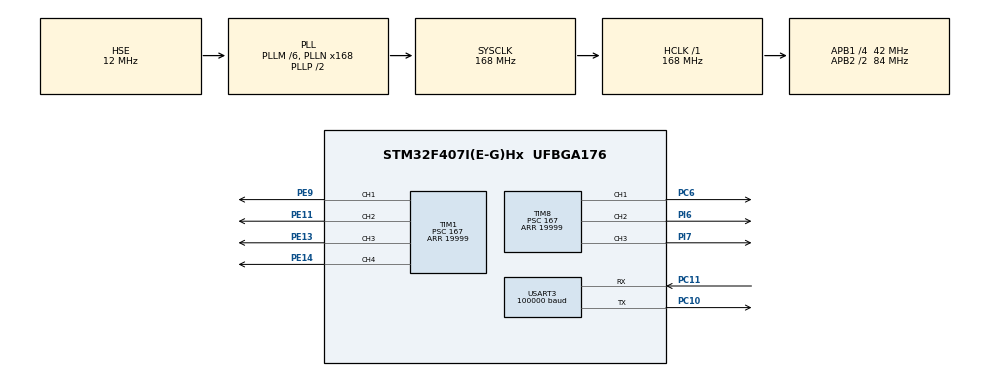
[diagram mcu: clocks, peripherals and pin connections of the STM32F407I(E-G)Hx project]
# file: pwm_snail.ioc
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Dma.Request0=USART3_RX
Dma.USART3_RX.0.Direction=DMA_PERIPH_TO_MEMORY
Dma.USART3_RX.0.FIFOMode=DMA_FIFOMODE_DISABLE
Dma.USART3_RX.0.Instance=DMA1_Stream1
Dma.USART3_RX.0.MemDataAlignment=DMA_MDATAALIGN_BYTE
Dma.USART3_RX.0.MemInc=DMA_MINC_ENABLE
Dma.USART3_RX.0.Mode=DMA_NORMAL
Dma.USART3_RX.0.PeriphDataAlignment=DMA_PDATAALIGN_BYTE
Dma.USART3_RX.0.PeriphInc=DMA_PINC_DISABLE
Dma.USART3_RX.0.Priority=DMA_PRIORITY_LOW
Mcu.Family=STM32F4
Mcu.Name=STM32F407I(E-G)Hx
Mcu.Package=UFBGA176
NVIC.DMA1_Stream1_IRQn=true\:0\:0\:false\:false\:true\:false\:false\:true
NVIC.PriorityGroup=NVIC_PRIORITYGROUP_4
NVIC.USART3_IRQn=true\:0\:0\:false\:false\:false\:true\:true\:true
PA13.Mode=Serial_Wire
PA13.Signal=SYS_JTMS-SWDIO
PA14.Mode=Serial_Wire
PA14.Signal=SYS_JTCK-SWCLK
PC10.Mode=Asynchronous
PC10.Signal=USART3_TX
PC11.Mode=Asynchronous
PC11.Signal=USART3_RX
PC6.GPIO_PuPd=GPIO_PULLUP
PC6.GPIO_Speed=GPIO_SPEED_FREQ_HIGH
PC6.Signal=S_TIM8_CH1
PE11.GPIO_PuPd=GPIO_PULLUP
PE11.GPIO_Speed=GPIO_SPEED_FREQ_HIGH
PE11.Signal=S_TIM1_CH2
PE13.GPIO_PuPd=GPIO_PULLUP
PE13.GPIO_Speed=GPIO_SPEED_FREQ_HIGH
PE13.Signal=S_TIM1_CH3
PE14.GPIO_PuPd=GPIO_PULLUP
PE14.GPIO_Speed=GPIO_SPEED_FREQ_HIGH
PE14.Signal=S_TIM1_CH4
PE9.GPIO_PuPd=GPIO_PULLUP
PE9.GPIO_Speed=GPIO_SPEED_FREQ_HIGH
PE9.Signal=S_TIM1_CH1
PH0-OSC_IN.Mode=HSE-External-Oscillator
PH0-OSC_IN.Signal=RCC_OSC_IN
PH1-OSC_OUT.Mode=HSE-External-Oscillator
PH1-OSC_OUT.Signal=RCC_OSC_OUT
PI6.GPIO_PuPd=GPIO_PULLUP
PI6.GPIO_Speed=GPIO_SPEED_FREQ_HIGH
PI6.Signal=S_TIM8_CH2
PI7.Signal=S_TIM8_CH3
ProjectManager.HeapSize=0x2000
ProjectManager.StackSize=0x2000
ProjectManager.TargetToolchain=STM32CubeIDE
RCC.48MHZClocksFreq_Value=48000000
RCC.AHBFreq_Value=168000000
RCC.APB1CLKDivider=RCC_HCLK_DIV4
RCC.APB1Freq_Value=42000000
RCC.APB1TimFreq_Value=84000000
RCC.APB2CLKDivider=RCC_HCLK_DIV2
RCC.APB2Freq_Value=84000000
RCC.APB2TimFreq_Value=168000000
RCC.CortexFreq_Value=168000000
RCC.HCLKFreq_Value=168000000
RCC.HSE_VALUE=12000000
RCC.HSI_VALUE=16000000
RCC.LSE_VALUE=32768
RCC.PLLM=6
RCC.PLLN=168
RCC.PLLQ=7
RCC.PLLSourceVirtual=RCC_PLLSOURCE_HSE
RCC.RCC_RTC_Clock_SourceVirtual=RCC_RTCCLKSOURCE_HSE_DIV30
RCC.RCC_RTC_Clock_Source_FROM_HSE=RCC_RTCCLKSOURCE_HSE_DIV30
RCC.SYSCLKFreq_VALUE=168000000
RCC.SYSCLKSource=RCC_SYSCLKSOURCE_PLLCLK
RCC.VCOOutputFreq_Value=336000000
SH.S_TIM1_CH1.0=TIM1_CH1,PWM Generation1 CH1
SH.S_TIM1_CH2.0=TIM1_CH2,PWM Generation2 CH2
SH.S_TIM1_CH3.0=TIM1_CH3,PWM Generation3 CH3
SH.S_TIM1_CH4.0=TIM1_CH4,PWM Generation4 CH4
SH.S_TIM8_CH1.0=TIM8_CH1,PWM Generation1 CH1
SH.S_TIM8_CH2.0=TIM8_CH2,PWM Generation2 CH2
SH.S_TIM8_CH3.0=TIM8_CH3,PWM Generation3 CH3
TIM1.Channel-PWM\ Generation1\ CH1=TIM_CHANNEL_1
TIM1.Channel-PWM\ Generation2\ CH2=TIM_CHANNEL_2
TIM1.Channel-PWM\ Generation3\ CH3=TIM_CHANNEL_3
TIM1.Channel-PWM\ Generation4\ CH4=TIM_CHANNEL_4
TIM1.Period=19999
TIM1.Prescaler=167
TIM1.Pulse-PWM\ Generation1\ CH1=2000
TIM1.Pulse-PWM\ Generation2\ CH2=2000
TIM1.Pulse-PWM\ Generation3\ CH3=2000
TIM1.Pulse-PWM\ Generation4\ CH4=2000
TIM8.Channel-PWM\ Generation1\ CH1=TIM_CHANNEL_1
TIM8.Channel-PWM\ Generation2\ CH2=TIM_CHANNEL_2
TIM8.Channel-PWM\ Generation3\ CH3=TIM_CHANNEL_3
TIM8.Period=19999
TIM8.Prescaler=167
TIM8.Pulse-PWM\ Generation1\ CH1=2000
TIM8.Pulse-PWM\ Generation2\ CH2=2000
TIM8.Pulse-PWM\ Generation3\ CH3=2000
USART3.BaudRate=100000
USART3.VirtualMode=VM_ASYNC
VP_TIM1_VS_ClockSourceINT.Mode=Internal
VP_TIM8_VS_ClockSourceINT.Mode=Internal
board=custom

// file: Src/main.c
/* USER CODE BEGIN Header */
/**
  ******************************************************************************
  * @file           : main.c
  * @brief          : Main program body
  ******************************************************************************
  * @attention
  *
  * <h2><center>&copy; Copyright (c) 2019 STMicroelectronics.
  * All rights reserved.</center></h2>
  *
  * This software component is licensed by ST under BSD 3-Clause license,
  * the "License"; You may not use this file except in compliance with the
  * License. You may obtain a copy of the License at:
  *                        opensource.org/licenses/BSD-3-Clause
  *
  ******************************************************************************
  */
/* USER CODE END Header */
#include "main.h"
#include "dma.h"
#include "tim.h"
#include "usart.h"
#include "gpio.h"

/* USER CODE BEGIN Includes */
#include "remote_control.h"
#include "bsp_fric.h"

/* USER CODE END Includes */

void SystemClock_Config(void);
/* USER CODE BEGIN PFP */
const RC_ctrl_t *local_rc_ctrl;
/* USER CODE END PFP */

int main(void)
{

  /* MCU Configuration--------------------------------------------------------*/

  /* Reset of all peripherals, Initializes the Flash interface and the Systick. */
  HAL_Init();

  /* Configure the system clock */
  SystemClock_Config();

  /* Initialize all configured peripherals */
  MX_GPIO_Init();
  MX_DMA_Init();
  MX_USART3_UART_Init();
  MX_TIM8_Init();
  MX_TIM1_Init();
  /* USER CODE BEGIN 2 */

    HAL_TIM_Base_Start(&htim1);
    HAL_TIM_PWM_Start(&htim1, TIM_CHANNEL_1);
    HAL_TIM_PWM_Start(&htim1, TIM_CHANNEL_2);
    HAL_TIM_PWM_Start(&htim1, TIM_CHANNEL_3);
    HAL_TIM_PWM_Start(&htim1, TIM_CHANNEL_1);
    HAL_TIM_Base_Start(&htim8);
    HAL_TIM_PWM_Start(&htim8, TIM_CHANNEL_1);
    HAL_TIM_PWM_Start(&htim8, TIM_CHANNEL_2);
    HAL_TIM_PWM_Start(&htim8, TIM_CHANNEL_3);
    remote_control_init();
    fric_off();
    local_rc_ctrl = get_remote_control_point();
    HAL_Delay(100);
    while(switch_is_up(local_rc_ctrl->rc.s[0]))
    {
        fric_on(2000);
        if(local_rc_ctrl->rc.ch[1] > 600)
        {
            fric_on(1000);
            break;
        }
    }

  /* USER CODE END 2 */

  /* Infinite loop */
  while (1)
  {

    /* USER CODE BEGIN 3 */
#ifdef MOTOR_TEST
    /* Simple PWM ramp test for validating motor/driver connection.
       Define MOTOR_TEST in project options to enable. This will output
       PWM compare values on configured TIM channels via fric_on().
       Range: 1000 .. 2000 (typical 1ms..2ms for ESC/servo-style controllers).
    */
    uint16_t pwm_val = 1000;
    int8_t dir = 1;
    while (1)
    {
      fric_on(pwm_val);
      HAL_Delay(10);
      if (dir) pwm_val++;
      else pwm_val--;
      if (pwm_val >= 2000) dir = 0;
      if (pwm_val <= 1000) dir = 1;
    }
#else
    fp32 pwm;
    pwm = 1000.0f + (local_rc_ctrl->rc.ch[3] > 0? local_rc_ctrl->rc.ch[3] : 0);
    fric_on((uint16_t)(pwm));
    HAL_Delay(100);
#endif
  }
  /* USER CODE END 3 */
}

void SystemClock_Config(void)
{
  RCC_OscInitTypeDef RCC_OscInitStruct = {0};
  RCC_ClkInitTypeDef RCC_ClkInitStruct = {0};

  /** Configure the main internal regulator output voltage
  */
  __HAL_RCC_PWR_CLK_ENABLE();
  __HAL_PWR_VOLTAGESCALING_CONFIG(PWR_REGULATOR_VOLTAGE_SCALE1);

  /** Initializes the RCC Oscillators according to the specified parameters
  * in the RCC_OscInitTypeDef structure.
  */
  RCC_OscInitStruct.OscillatorType = RCC_OSCILLATORTYPE_HSE;
  RCC_OscInitStruct.HSEState = RCC_HSE_ON;
  RCC_OscInitStruct.PLL.PLLState = RCC_PLL_ON;
  RCC_OscInitStruct.PLL.PLLSource = RCC_PLLSOURCE_HSE;
  RCC_OscInitStruct.PLL.PLLM = 6;
  RCC_OscInitStruct.PLL.PLLN = 168;
  RCC_OscInitStruct.PLL.PLLP = RCC_PLLP_DIV2;
  RCC_OscInitStruct.PLL.PLLQ = 7;
  if (HAL_RCC_OscConfig(&RCC_OscInitStruct) != HAL_OK)
  {
    Error_Handler();
  }

  /** Initializes the CPU, AHB and APB buses clocks
  */
  RCC_ClkInitStruct.ClockType = RCC_CLOCKTYPE_HCLK|RCC_CLOCKTYPE_SYSCLK
                              |RCC_CLOCKTYPE_PCLK1|RCC_CLOCKTYPE_PCLK2;
  RCC_ClkInitStruct.SYSCLKSource = RCC_SYSCLKSOURCE_PLLCLK;
  RCC_ClkInitStruct.AHBCLKDivider = RCC_SYSCLK_DIV1;
  RCC_ClkInitStruct.APB1CLKDivider = RCC_HCLK_DIV4;
  RCC_ClkInitStruct.APB2CLKDivider = RCC_HCLK_DIV2;

  if (HAL_RCC_ClockConfig(&RCC_ClkInitStruct, FLASH_LATENCY_5) != HAL_OK)
  {
    Error_Handler();
  }
}

void Error_Handler(void)
{
}
